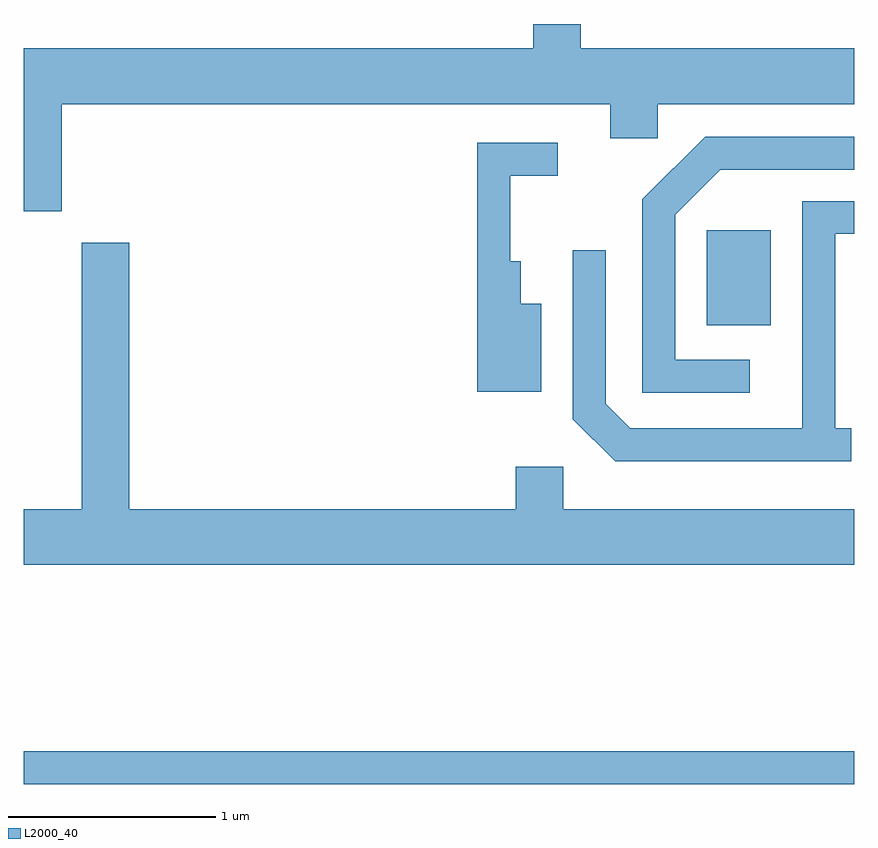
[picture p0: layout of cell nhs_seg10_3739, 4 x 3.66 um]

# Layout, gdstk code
import gdstk
lib = gdstk.Library(unit=1e-6, precision=1e-09)
def R(c, l, rs):  # rectangles x0, y0, x1, y1
    for r in rs: c.add(gdstk.rectangle(r[:2], r[2:], *l))
def P(c, l, *ps):  # polygons
    for p in ps: c.add(gdstk.Polygon(p, *l))
L2000_40 = (2000, 40)

nhs_seg10_3739 = lib.new_cell('nhs_seg10_3739')
R(nhs_seg10_3739, L2000_40, [(295.611,2112.861,299.611,2113.019), (298.901,2115.071,299.209,2115.529)])
P(nhs_seg10_3739, L2000_40, [(295.794,2116.136),(298.436,2116.136),(298.436,2115.971),(298.664,2115.971),(298.664,2116.136),(299.611,2116.136),(299.611,2116.404),(298.294,2116.404),(298.294,2116.522),(298.066,2116.522),(298.066,2116.404),(295.611,2116.404),(295.611,2115.621),(295.794,2115.621)],
  [(299.108,2114.904),(298.749,2114.904),(298.749,2115.604),(298.967,2115.821),(299.611,2115.821),(299.611,2115.979),(298.894,2115.979),(298.591,2115.677),(298.591,2114.746),(299.108,2114.746)],
  [(298.104,2115.174),(298.004,2115.174),(298.004,2115.379),(297.954,2115.379),(297.954,2115.791),(298.183,2115.791),(298.183,2115.949),(297.796,2115.949),(297.796,2114.751),(298.104,2114.751)],
  [(299.598,2114.574),(299.519,2114.574),(299.519,2115.511),(299.611,2115.511),(299.611,2115.669),(299.361,2115.669),(299.361,2114.574),(298.532,2114.574),(298.414,2114.692),(298.414,2115.433),(298.256,2115.433),(298.256,2114.619),(298.459,2114.416),(299.598,2114.416)],
  [(299.611,2114.184),(298.209,2114.184),(298.209,2114.389),(297.981,2114.389),(297.981,2114.184),(296.119,2114.184),(296.119,2115.469),(295.891,2115.469),(295.891,2114.184),(295.611,2114.184),(295.611,2113.916),(299.611,2113.916)])

lib.write_gds('nhs_seg10_3739.gds')
